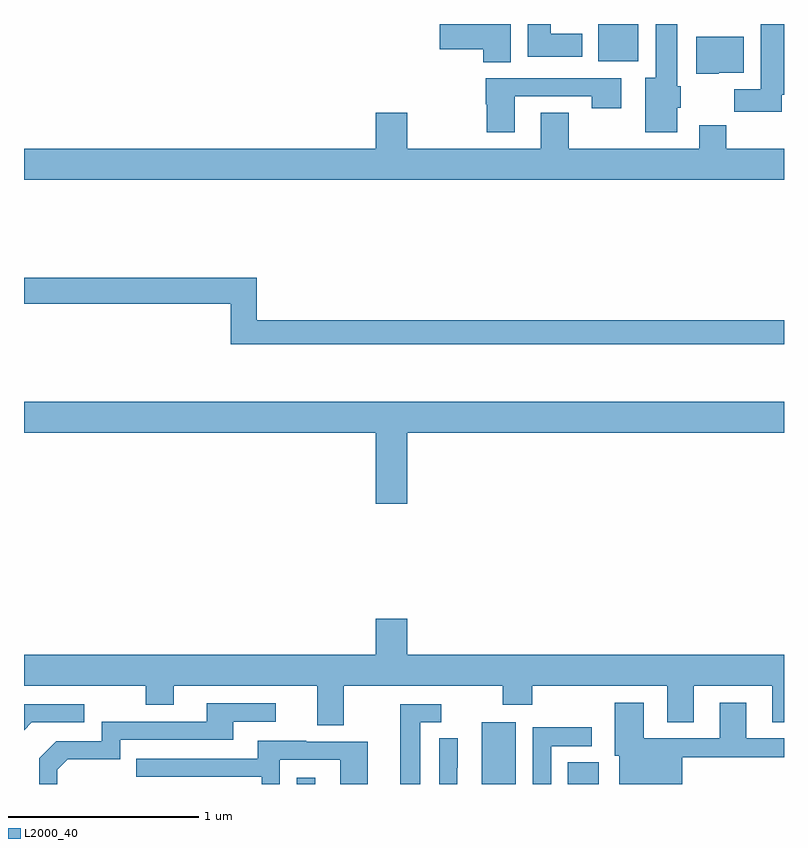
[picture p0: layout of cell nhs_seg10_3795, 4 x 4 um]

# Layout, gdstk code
import gdstk
lib = gdstk.Library(unit=1e-6, precision=1e-09)
def R(c, l, rs):  # rectangles x0, y0, x1, y1
    for r in rs: c.add(gdstk.rectangle(r[:2], r[2:], *l))
def P(c, l, *ps):  # polygons
    for p in ps: c.add(gdstk.Polygon(p, *l))
L2000_40 = (2000, 40)

nhs_seg10_3795 = lib.new_cell('nhs_seg10_3795')
R(nhs_seg10_3795, L2000_40, [(320.436,1266.5,320.533,1266.532), (321.41,1266.5,321.589,1266.826), (321.863,1266.5,322.024,1266.614), (322.022,1270.304,322.234,1270.5)])
P(nhs_seg10_3795, L2000_40, [(322.438,1270.059),(322.456,1270.059),(322.456,1270.173),(322.438,1270.173),(322.438,1270.5),(322.325,1270.5),(322.325,1270.216),(322.271,1270.216),(322.271,1269.93),(322.438,1269.93)],
  [(322.987,1270.127),(323,1270.127),(323,1270.5),(322.877,1270.5),(322.877,1270.156),(322.738,1270.156),(322.738,1270.038),(322.987,1270.038)],
  [(321.562,1270.5),(321.188,1270.5),(321.188,1270.367),(321.416,1270.367),(321.416,1270.3),(321.562,1270.3)],
  [(321.937,1270.45),(321.772,1270.45),(321.772,1270.5),(321.65,1270.5),(321.65,1270.328),(321.937,1270.328)],
  [(322.656,1270.244),(322.789,1270.244),(322.789,1270.432),(322.538,1270.432),(322.538,1270.238),(322.656,1270.238)],
  [(321.583,1270.119),(321.988,1270.119),(321.988,1270.056),(322.144,1270.056),(322.144,1270.215),(321.431,1270.215),(321.431,1270.077),(321.436,1270.077),(321.436,1269.93),(321.583,1269.93)],
  [(323,1269.844),(322.697,1269.844),(322.697,1269.968),(322.553,1269.968),(322.553,1269.844),(321.867,1269.844),(321.867,1270.034),(321.719,1270.034),(321.719,1269.844),(321.016,1269.844),(321.016,1270.033),(320.852,1270.033),(320.852,1269.844),(319,1269.844),(319,1269.68),(323,1269.68)],
  [(323,1268.942),(320.225,1268.942),(320.225,1269.164),(319,1269.164),(319,1269.028),(320.089,1269.028),(320.089,1268.814),(323,1268.814)],
  [(321.016,1268.348),(323,1268.348),(323,1268.512),(319,1268.512),(319,1268.348),(320.852,1268.348),(320.852,1267.974),(321.016,1267.974)],
  [(320.683,1267.016),(321.52,1267.016),(321.52,1266.917),(321.675,1266.917),(321.675,1267.016),(322.385,1267.016),(322.385,1266.826),(322.525,1266.826),(322.525,1267.016),(322.937,1267.016),(322.937,1266.826),(323,1266.826),(323,1267.18),(321.016,1267.18),(321.016,1267.369),(320.852,1267.369),(320.852,1267.18),(319,1267.18),(319,1267.016),(319.642,1267.016),(319.642,1266.917),(319.789,1266.917),(319.789,1267.016),(320.543,1267.016),(320.543,1266.808),(320.683,1266.808)],
  [(322.465,1266.64),(323,1266.64),(323,1266.741),(322.801,1266.741),(322.801,1266.928),(322.661,1266.928),(322.661,1266.741),(322.261,1266.741),(322.261,1266.928),(322.109,1266.928),(322.109,1266.648),(322.133,1266.648),(322.133,1266.5),(322.465,1266.5)],
  [(319.176,1266.576),(319.229,1266.629),(319.506,1266.629),(319.506,1266.732),(320.101,1266.732),(320.101,1266.828),(320.326,1266.828),(320.326,1266.924),(319.961,1266.924),(319.961,1266.828),(319.41,1266.828),(319.41,1266.726),(319.17,1266.726),(319.08,1266.636),(319.08,1266.5),(319.176,1266.5)],
  [(319.041,1266.825),(319.318,1266.825),(319.318,1266.921),(319,1266.921),(319,1266.784)],
  [(321.085,1266.825),(321.196,1266.825),(321.196,1266.921),(320.981,1266.921),(320.981,1266.5),(321.085,1266.5)],
  [(321.774,1266.699),(321.988,1266.699),(321.988,1266.798),(321.678,1266.798),(321.678,1266.5),(321.774,1266.5)],
  [(321.281,1266.586),(321.282,1266.586),(321.282,1266.74),(321.186,1266.74),(321.186,1266.5),(321.281,1266.5)],
  [(320.346,1266.627),(320.664,1266.627),(320.664,1266.5),(320.809,1266.5),(320.809,1266.723),(320.485,1266.723),(320.485,1266.727),(320.231,1266.727),(320.231,1266.633),(319.591,1266.633),(319.591,1266.537),(320.25,1266.537),(320.25,1266.5),(320.346,1266.5)])

lib.write_gds('nhs_seg10_3795.gds')
